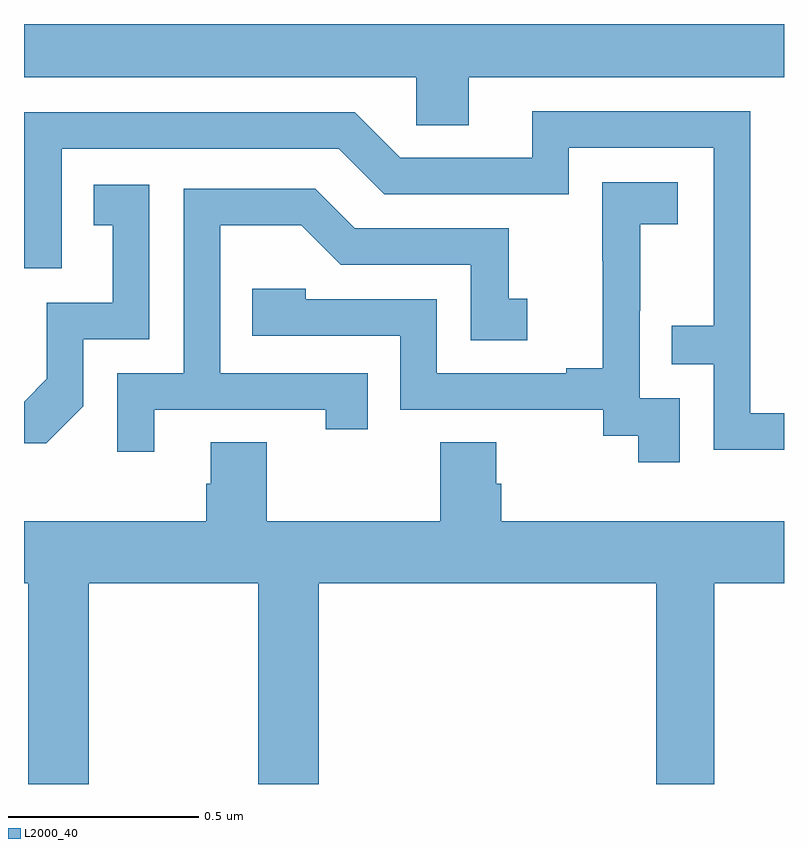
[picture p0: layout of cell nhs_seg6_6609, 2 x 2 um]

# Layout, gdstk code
import gdstk
lib = gdstk.Library(unit=1e-6, precision=1e-09)
def P(c, l, *ps):  # polygons
    for p in ps: c.add(gdstk.Polygon(p, *l))
L2000_40 = (2000, 40)

nhs_seg6_6609 = lib.new_cell('nhs_seg6_6609')
P(nhs_seg6_6609, L2000_40, [(199.171,923.36),(200,923.36),(200,923.5),(198,923.5),(198,923.36),(199.032,923.36),(199.032,923.233),(199.171,923.233)],
  [(200,922.476),(199.911,922.476),(199.911,923.271),(199.337,923.271),(199.337,923.148),(198.99,923.148),(198.87,923.268),(198,923.268),(198,922.857),(198.099,922.857),(198.099,923.172),(198.828,923.172),(198.948,923.052),(199.434,923.052),(199.434,923.175),(199.815,923.175),(199.815,922.706),(199.705,922.706),(199.705,922.605),(199.815,922.605),(199.815,922.38),(200,922.38)],
  [(199.725,922.515),(199.62,922.515),(199.62,922.745),(199.622,922.745),(199.622,922.973),(199.72,922.973),(199.72,923.083),(199.522,923.083),(199.522,922.877),(199.523,922.877),(199.523,922.594),(199.427,922.594),(199.427,922.581),(199.086,922.581),(199.086,922.776),(198.741,922.776),(198.741,922.803),(198.601,922.803),(198.601,922.68),(198.99,922.68),(198.99,922.485),(199.524,922.485),(199.524,922.417),(199.617,922.417),(199.617,922.347),(199.725,922.347)],
  [(198.156,922.494),(198.156,922.671),(198.33,922.671),(198.33,923.077),(198.184,923.077),(198.184,922.971),(198.233,922.971),(198.233,922.767),(198.06,922.767),(198.06,922.566),(198,922.506),(198,922.397),(198.058,922.397)],
  [(198.343,922.485),(198.794,922.485),(198.794,922.434),(198.905,922.434),(198.905,922.581),(198.516,922.581),(198.516,922.97),(198.73,922.97),(198.834,922.866),(199.176,922.866),(199.176,922.668),(199.324,922.668),(199.324,922.777),(199.275,922.777),(199.275,922.962),(198.871,922.962),(198.766,923.067),(198.42,923.067),(198.42,922.581),(198.246,922.581),(198.246,922.374),(198.343,922.374)],
  [(198.171,922.028),(198.616,922.028),(198.616,921.5),(198.776,921.5),(198.776,922.028),(199.664,922.028),(199.664,921.5),(199.816,921.5),(199.816,922.028),(200,922.028),(200,922.192),(199.256,922.192),(199.256,922.29),(199.243,922.29),(199.243,922.4),(199.096,922.4),(199.096,922.192),(198.639,922.192),(198.639,922.4),(198.491,922.4),(198.491,922.29),(198.479,922.29),(198.479,922.192),(198,922.192),(198,922.028),(198.011,922.028),(198.011,921.5),(198.171,921.5)])

lib.write_gds('nhs_seg6_6609.gds')
